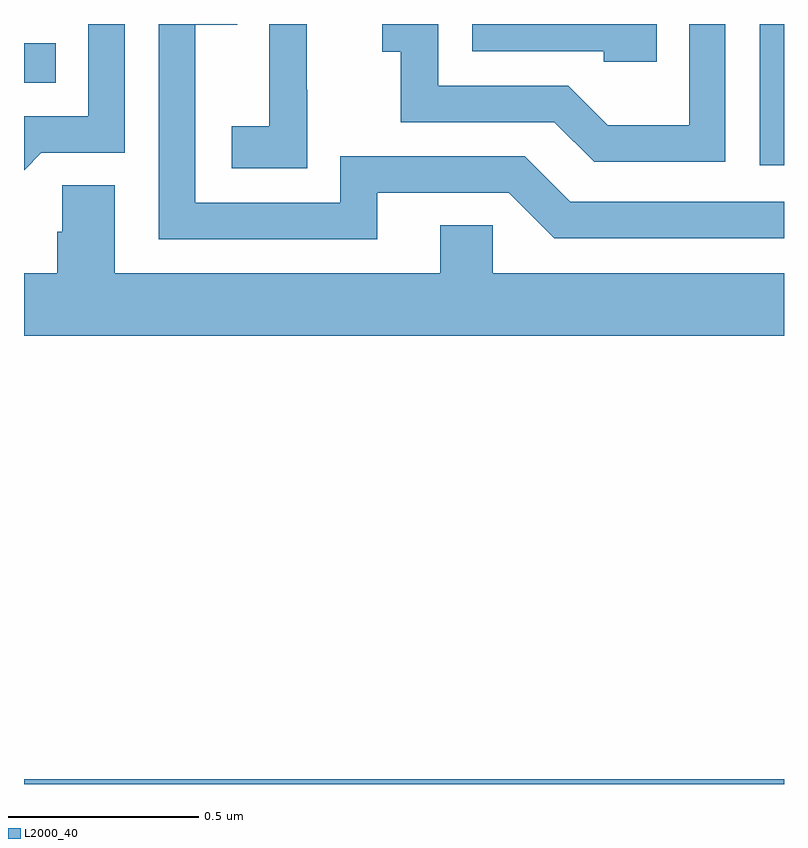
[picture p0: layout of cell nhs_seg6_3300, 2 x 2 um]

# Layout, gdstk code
import gdstk
lib = gdstk.Library(unit=1e-6, precision=1e-09)
def R(c, l, rs):  # rectangles x0, y0, x1, y1
    for r in rs: c.add(gdstk.rectangle(r[:2], r[2:], *l))
def P(c, l, *ps):  # polygons
    for p in ps: c.add(gdstk.Polygon(p, *l))
L2000_40 = (2000, 40)

nhs_seg6_3300 = lib.new_cell('nhs_seg6_3300')
R(nhs_seg6_3300, L2000_40, [(155,935.5,157,935.512), (156.936,937.128,157,937.5), (155,937.346,155.084,937.45)])
P(nhs_seg6_3300, L2000_40, [(155.745,937.327),(155.744,937.327),(155.744,937.5),(155.646,937.5),(155.646,937.46),(155.645,937.46),(155.645,937.231),(155.547,937.231),(155.547,937.121),(155.745,937.121)],
  [(156.665,937.5),(156.18,937.5),(156.18,937.428),(156.525,937.428),(156.525,937.401),(156.665,937.401)],
  [(155.929,937.056),(156.276,937.056),(156.396,936.936),(157,936.936),(157,937.032),(156.438,937.032),(156.318,937.152),(155.832,937.152),(155.832,937.029),(155.451,937.029),(155.451,937.498),(155.561,937.498),(155.561,937.5),(155.355,937.5),(155.355,936.933),(155.929,936.933)],
  [(155.046,937.161),(155.265,937.161),(155.265,937.5),(155.169,937.5),(155.169,937.257),(155,937.257),(155,937.115)],
  [(156.846,937.5),(156.75,937.5),(156.75,937.234),(156.536,937.234),(156.432,937.338),(156.09,937.338),(156.09,937.5),(155.943,937.5),(155.943,937.427),(155.992,937.427),(155.992,937.242),(156.395,937.242),(156.5,937.137),(156.846,937.137)],
  [(157,936.844),(156.234,936.844),(156.234,936.971),(156.095,936.971),(156.095,936.844),(155.239,936.844),(155.239,937.076),(155.1,937.076),(155.1,936.953),(155.087,936.953),(155.087,936.844),(155,936.844),(155,936.68),(157,936.68)])

lib.write_gds('nhs_seg6_3300.gds')
